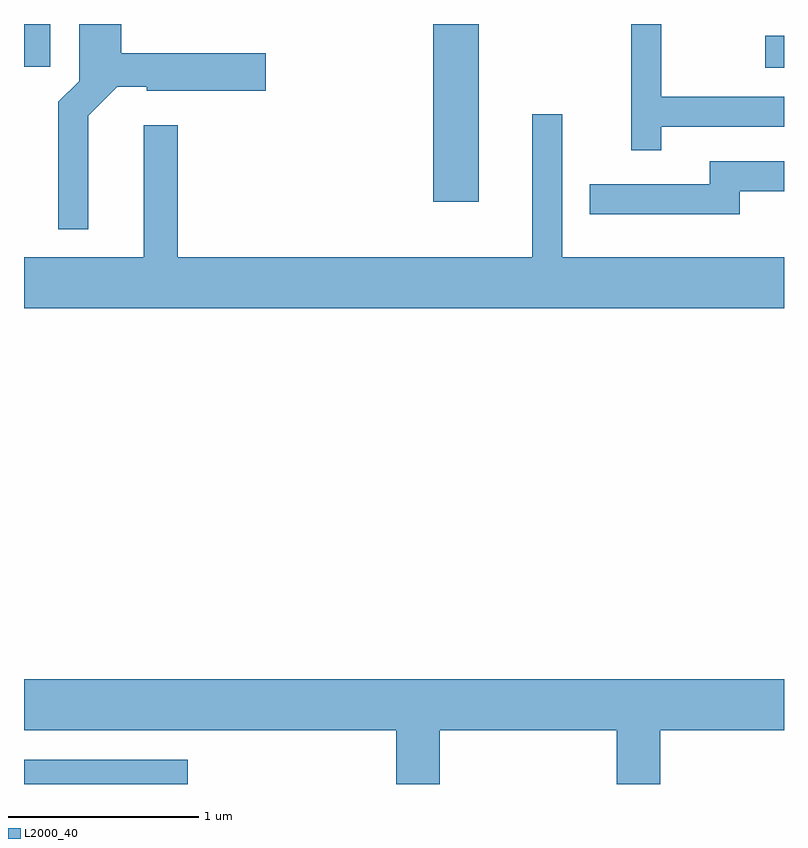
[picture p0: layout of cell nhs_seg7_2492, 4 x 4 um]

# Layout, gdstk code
import gdstk
lib = gdstk.Library(unit=1e-6, precision=1e-09)
def R(c, l, rs):  # rectangles x0, y0, x1, y1
    for r in rs: c.add(gdstk.rectangle(r[:2], r[2:], *l))
def P(c, l, *ps):  # polygons
    for p in ps: c.add(gdstk.Polygon(p, *l))
L2000_40 = (2000, 40)

nhs_seg7_2492 = lib.new_cell('nhs_seg7_2492')
R(nhs_seg7_2492, L2000_40, [(261.611,1716.252,262.474,1716.379), (263.766,1719.316,264.004,1720.252), (265.513,1720.021,265.611,1720.189), (261.611,1720.028,261.749,1720.252)])
P(nhs_seg7_2492, L2000_40, [(264.964,1719.711),(265.611,1719.711),(265.611,1719.869),(264.964,1719.869),(264.964,1720.252),(264.806,1720.252),(264.806,1719.588),(264.964,1719.588)],
  [(261.949,1719.769),(262.102,1719.921),(262.256,1719.921),(262.256,1719.901),(262.884,1719.901),(262.884,1720.099),(262.124,1720.099),(262.124,1720.252),(261.901,1720.252),(261.901,1719.952),(261.791,1719.842),(261.791,1719.173),(261.949,1719.173)],
  [(265.611,1719.024),(264.444,1719.024),(264.444,1719.778),(264.286,1719.778),(264.286,1719.024),(262.419,1719.024),(262.419,1719.719),(262.241,1719.719),(262.241,1719.024),(261.611,1719.024),(261.611,1718.756),(265.611,1718.756)],
  [(265.379,1719.371),(265.611,1719.371),(265.611,1719.529),(265.221,1719.529),(265.221,1719.409),(264.588,1719.409),(264.588,1719.251),(265.379,1719.251)],
  [(263.799,1716.536),(264.731,1716.536),(264.731,1716.252),(264.959,1716.252),(264.959,1716.536),(265.611,1716.536),(265.611,1716.804),(261.611,1716.804),(261.611,1716.536),(263.571,1716.536),(263.571,1716.252),(263.799,1716.252)])

lib.write_gds('nhs_seg7_2492.gds')
